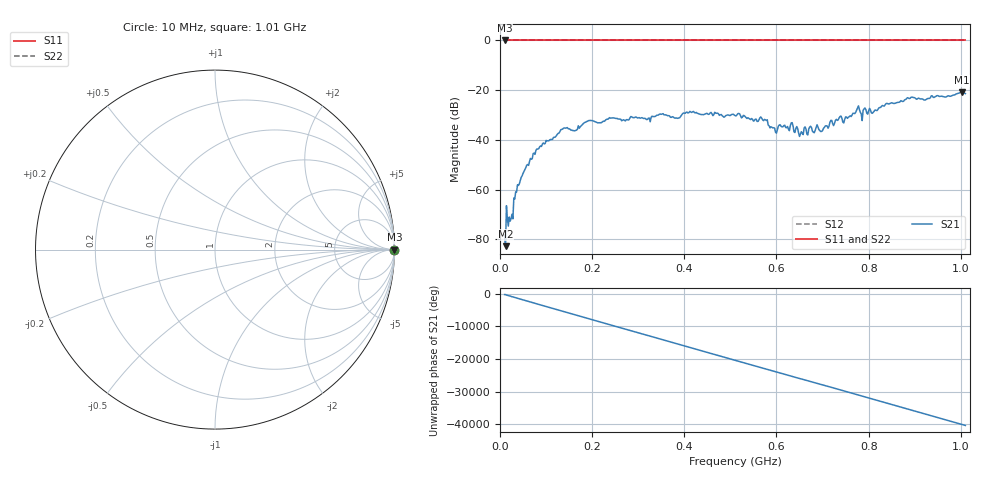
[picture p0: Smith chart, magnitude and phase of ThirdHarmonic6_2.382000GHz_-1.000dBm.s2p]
! 8/17/2025 3:48:17 AM
! C:\ANRITSUVNA\TEMP\TEMP.S2P
! CHANNEL.1
! TR.MEASUREMENT
! RAW.DATA
! RF.CORRECTION.OFF
! AVERAGING.OFF
! IF.BANDWIDTH: 5KHZ
! SWEEPTYPE:  FREQ.SWEEP(Linear)
! Reference Plane Port Info
! PORT:  PORT1  PORT2
! DISTANCE:  0  m  0  m
! TIME:  0  s  0  s
! PHASE.OFFSET:  0  deg.  0  deg.
! LOSS:  0  dB  0  dB
! REF.LOSS:  0  dB  0  dB
! REF.FREQ:  0  Hz  0  Hz
! Power Info
! POWER:  -20  dBm  -20  dBm
! EFF.POWER:  -20  dBm  -20  dBm
! SOURCE.ATTEN:  0  dB  0  dB
! TEST.ATTEN:  0  dB  0  dB
# GHZ S RI R 50.0
! FREQ.GHZ  S11RE  S11IM  S21RE  S21IM  S12RE  S12IM  S22RE  S22IM
!; PortSelection: Port_12
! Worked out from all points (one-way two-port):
!   501 points, 10 MHz to 1.01 GHz, reference 50 ohm
!   highest |S21| = -20.79 dB at 1.002 GHz (marker M1); lowest = -82.8 dB at 12 MHz (marker M2)
!   lowest |S11| = 0.0 dB at 10 MHz (marker M3)
!   |S11| at or under -10 dB: nowhere
!   |S22| runs from 0.0 to 0.0 dB; largest |S21 - S12| = 1.1
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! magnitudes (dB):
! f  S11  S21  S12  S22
! 10 MHz  0.0  -78.3  0.0  0.0
! 12 MHz  0.0  -82.8  0.0  0.0
! 18 MHz  0.0  -74.7  0.0  0.0
! 24 MHz  0.0  -71.8  0.0  0.0
! 34 MHz  0.0  -61.0  0.0  0.0
! 42 MHz  0.0  -57.7  0.0  0.0
! 76 MHz  0.0  -45.8  0.0  0.0
! 136 MHz  0.0  -35.7  0.0  0.0
! 178 MHz  0.0  -34.0  0.0  0.0
! 344 MHz  0.0  -30.0  0.0  0.0
! 510 MHz  0.0  -30.2  0.0  0.0
! 576 MHz  0.0  -31.9  0.0  0.0
! 598 MHz  0.0  -37.0  0.0  0.0
! 632 MHz  0.0  -33.2  0.0  0.0
! 654 MHz  0.0  -36.7  0.0  0.0
! 678 MHz  0.0  -36.5  0.0  0.0
! 698 MHz  0.0  -36.6  0.0  0.0
! 776 MHz  0.0  -27.2  0.0  0.0
! 810 MHz  0.0  -28.9  0.0  0.0
! 844 MHz  0.0  -25.5  0.0  0.0
! 1.002 GHz  0.0  -20.8  0.0  0.0
! 1.01 GHz  0.0  -21.4  0.0  0.0
